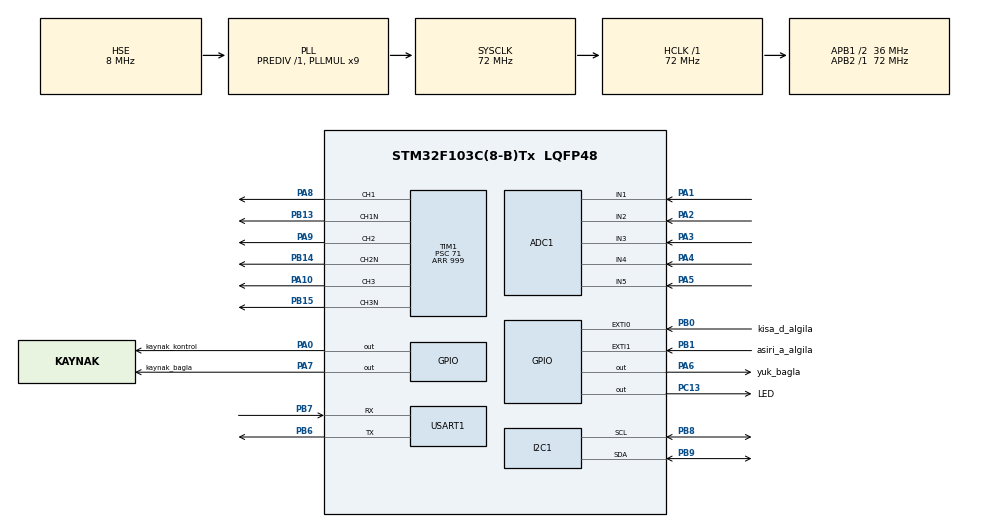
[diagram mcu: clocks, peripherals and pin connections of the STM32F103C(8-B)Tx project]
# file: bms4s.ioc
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ADC1.Channel-0\#ChannelRegularConversion=ADC_CHANNEL_1
ADC1.Channel-1\#ChannelRegularConversion=ADC_CHANNEL_2
ADC1.Channel-2\#ChannelRegularConversion=ADC_CHANNEL_3
ADC1.Channel-3\#ChannelRegularConversion=ADC_CHANNEL_4
ADC1.Channel-4\#ChannelRegularConversion=ADC_CHANNEL_5
ADC1.Channel-5\#ChannelRegularConversion=ADC_CHANNEL_TEMPSENSOR
ADC1.Channel-6\#ChannelRegularConversion=ADC_CHANNEL_VREFINT
ADC1.ExternalTrigConv=ADC_EXTERNALTRIGCONV_T3_TRGO
ADC1.NbrOfConversion=7
ADC1.NbrOfConversionFlag=1
ADC1.Rank-0\#ChannelRegularConversion=1
ADC1.Rank-1\#ChannelRegularConversion=2
ADC1.Rank-2\#ChannelRegularConversion=3
ADC1.Rank-3\#ChannelRegularConversion=4
ADC1.Rank-4\#ChannelRegularConversion=5
ADC1.Rank-5\#ChannelRegularConversion=6
ADC1.Rank-6\#ChannelRegularConversion=7
ADC1.SamplingTime-0\#ChannelRegularConversion=ADC_SAMPLETIME_239CYCLES_5
ADC1.SamplingTime-1\#ChannelRegularConversion=ADC_SAMPLETIME_239CYCLES_5
ADC1.SamplingTime-2\#ChannelRegularConversion=ADC_SAMPLETIME_239CYCLES_5
ADC1.SamplingTime-3\#ChannelRegularConversion=ADC_SAMPLETIME_239CYCLES_5
ADC1.SamplingTime-4\#ChannelRegularConversion=ADC_SAMPLETIME_239CYCLES_5
ADC1.SamplingTime-5\#ChannelRegularConversion=ADC_SAMPLETIME_239CYCLES_5
ADC1.SamplingTime-6\#ChannelRegularConversion=ADC_SAMPLETIME_239CYCLES_5
ADC1.master=1
Dma.ADC1.0.Direction=DMA_PERIPH_TO_MEMORY
Dma.ADC1.0.Instance=DMA1_Channel1
Dma.ADC1.0.MemDataAlignment=DMA_MDATAALIGN_WORD
Dma.ADC1.0.MemInc=DMA_MINC_ENABLE
Dma.ADC1.0.Mode=DMA_NORMAL
Dma.ADC1.0.PeriphDataAlignment=DMA_PDATAALIGN_WORD
Dma.ADC1.0.PeriphInc=DMA_PINC_DISABLE
Dma.ADC1.0.Priority=DMA_PRIORITY_LOW
Dma.Request0=ADC1
FREERTOS.Tasks01=KontrolTask,0,128,StartKontrolTask,Default,NULL,Dynamic,NULL,NULL;AdcTask,-3,128,StartAdcTask,Default,NULL,Dynamic,NULL,NULL;BalansTask,-3,128,StartBalansTask,Default,NULL,Dynamic,NULL,NULL
FREERTOS.configUSE_NEWLIB_REENTRANT=1
I2C1.I2C_Mode=I2C_Fast
Mcu.Family=STM32F1
Mcu.Name=STM32F103C(8-B)Tx
Mcu.Package=LQFP48
NVIC.DMA1_Channel1_IRQn=true\:5\:0\:false\:false\:true\:true\:false\:true\:true
NVIC.EXTI0_IRQn=true\:5\:0\:false\:false\:true\:true\:true\:true\:true
NVIC.EXTI1_IRQn=true\:5\:0\:false\:false\:true\:true\:true\:true\:true
NVIC.PriorityGroup=NVIC_PRIORITYGROUP_4
NVIC.TIM2_IRQn=true\:15\:0\:false\:false\:true\:false\:false\:true\:true
NVIC.TimeBase=TIM2_IRQn
NVIC.TimeBaseIP=TIM2
NVIC.USART1_IRQn=true\:5\:0\:false\:false\:true\:true\:true\:true\:true
PA0-WKUP.GPIO_Label=kaynak_kontrol
PA0-WKUP.Signal=GPIO_Output
PA1.Signal=ADCx_IN1
PA10.Signal=S_TIM1_CH3
PA13.Mode=Serial_Wire
PA13.Signal=SYS_JTMS-SWDIO
PA14.Mode=Serial_Wire
PA14.Signal=SYS_JTCK-SWCLK
PA2.Signal=ADCx_IN2
PA3.Signal=ADCx_IN3
PA4.Signal=ADCx_IN4
PA5.Signal=ADCx_IN5
PA6.GPIO_Label=yuk_bagla
PA6.Signal=GPIO_Output
PA7.GPIO_Label=kaynak_bagla
PA7.Signal=GPIO_Output
PA8.Signal=S_TIM1_CH1
PA9.Signal=S_TIM1_CH2
PB0.GPIO_Label=kisa_d_algila
PB0.Signal=GPXTI0
PB1.GPIO_Label=asiri_a_algila
PB1.Signal=GPXTI1
PB13.Mode=PWM Generation1 CH1 CH1N
PB13.Signal=TIM1_CH1N
PB14.Mode=PWM Generation2 CH2 CH2N
PB14.Signal=TIM1_CH2N
PB15.Mode=PWM Generation3 CH3 CH3N
PB15.Signal=TIM1_CH3N
PB6.Mode=Asynchronous
PB6.Signal=USART1_TX
PB7.Mode=Asynchronous
PB7.Signal=USART1_RX
PB8.Mode=I2C
PB8.Signal=I2C1_SCL
PB9.Mode=I2C
PB9.Signal=I2C1_SDA
PC13-TAMPER-RTC.GPIO_Label=LED
PC13-TAMPER-RTC.Signal=GPIO_Output
PD0-OSC_IN.Mode=HSE-External-Oscillator
PD0-OSC_IN.Signal=RCC_OSC_IN
PD1-OSC_OUT.Mode=HSE-External-Oscillator
PD1-OSC_OUT.Signal=RCC_OSC_OUT
ProjectManager.HeapSize=0x200
ProjectManager.StackSize=0x400
ProjectManager.TargetToolchain=STM32CubeIDE
RCC.ADCPresc=RCC_ADCPCLK2_DIV6
RCC.AHBFreq_Value=72000000
RCC.APB1CLKDivider=RCC_HCLK_DIV2
RCC.APB1Freq_Value=36000000
RCC.APB1TimFreq_Value=72000000
RCC.APB2Freq_Value=72000000
RCC.APB2TimFreq_Value=72000000
RCC.HCLKFreq_Value=72000000
RCC.PLLMUL=RCC_PLL_MUL9
RCC.PLLSourceVirtual=RCC_PLLSOURCE_HSE
RCC.SYSCLKFreq_VALUE=72000000
RCC.SYSCLKSource=RCC_SYSCLKSOURCE_PLLCLK
RCC.USBFreq_Value=72000000
SH.ADCx_IN1.0=ADC1_IN1,IN1
SH.ADCx_IN2.0=ADC1_IN2,IN2
SH.ADCx_IN3.0=ADC1_IN3,IN3
SH.ADCx_IN4.0=ADC1_IN4,IN4
SH.ADCx_IN5.0=ADC1_IN5,IN5
SH.S_TIM1_CH1.0=TIM1_CH1,PWM Generation1 CH1 CH1N
SH.S_TIM1_CH2.0=TIM1_CH2,PWM Generation2 CH2 CH2N
SH.S_TIM1_CH3.0=TIM1_CH3,PWM Generation3 CH3 CH3N
TIM1.Channel-PWM\ Generation1\ CH1\ CH1N=TIM_CHANNEL_1
TIM1.Channel-PWM\ Generation2\ CH2\ CH2N=TIM_CHANNEL_2
TIM1.Channel-PWM\ Generation3\ CH3\ CH3N=TIM_CHANNEL_3
TIM1.Period=999
TIM1.Prescaler=71
TIM1.Pulse-PWM\ Generation1\ CH1\ CH1N=499
TIM1.Pulse-PWM\ Generation2\ CH2\ CH2N=499
TIM1.Pulse-PWM\ Generation3\ CH3\ CH3N=499
TIM3.Period=999
TIM3.Prescaler=71
TIM3.TIM_MasterOutputTrigger=TIM_TRGO_UPDATE
TIM3.TIM_MasterSlaveMode=TIM_MASTERSLAVEMODE_DISABLE
USART1.VirtualMode=VM_ASYNC
VP_ADC1_TempSens_Input.Mode=IN-TempSens
VP_ADC1_Vref_Input.Mode=IN-Vrefint
VP_FREERTOS_VS_CMSIS_V1.Mode=CMSIS_V1
VP_SYS_VS_tim2.Mode=TIM2
VP_TIM1_VS_ClockSourceINT.Mode=Internal
VP_TIM3_VS_ClockSourceINT.Mode=Internal
board=custom

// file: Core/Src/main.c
/* USER CODE BEGIN Header */
/**
 ******************************************************************************
 * @file           : main.c
 * @brief          : Main program body
 ******************************************************************************
 * @attention
 *
 * Copyright (c) 2024 STMicroelectronics.
 * All rights reserved.
 *
 * This software is licensed under terms that can be found in the LICENSE file
 * in the root directory of this software component.
 * If no LICENSE file comes with this software, it is provided AS-IS.
 *
 ******************************************************************************
 */
/* USER CODE END Header */
#include "main.h"
#include "cmsis_os.h"

/* USER CODE BEGIN Includes */
#include "gnd16x2_i2c.h"
#include "gnd_uart.h"
#include <stdio.h>
#include <stdlib.h>
#include <stdbool.h>
#include <string.h>
#include <ctype.h>
#include <math.h>
#define ADC_BUFFER_SIZE 7
#define voltajFark 10
#define azamiVoltaj 1100 //çarpi 4 = pilin gerilimi
#define asgariVoltaj 850 // 3.2 pil gerilimi
#define asgariGerekliVolt 900
#define MAX_PWM_DUTY_CYCLE 70

//uint16_t adcDmaDeger[7], adcHamDeger[7];
char giden_data[40] = { 0 }, gelen_data[20] = { 0 };
int counter = 0;
/* USER CODE END Includes */

ADC_HandleTypeDef hadc1;
DMA_HandleTypeDef hdma_adc1;

I2C_HandleTypeDef hi2c1;

TIM_HandleTypeDef htim1;
TIM_HandleTypeDef htim3;

UART_HandleTypeDef huart1;

osThreadId KontrolTaskHandle;
osThreadId AdcTaskHandle;
osThreadId BalansTaskHandle;
/* USER CODE BEGIN PV */
uint32_t adc_buffer[ADC_BUFFER_SIZE];
bool adc_ready = false;
int pil[4] = { 0 };
int akim = 0;

int temperature;
const uint16_t V25 = 1790; // when V25=1.41V at ref 3.3V 1750
const uint16_t Avg_Slope = 5; //when avg_slope=4.3mV/C at ref 3.3V

volatile bool asiri_akim = false;
volatile bool kisa_devre = false;

uint32_t counterPeriod = 0;
uint32_t prescalerDeger = 0;
uint32_t frekans = 0;
uint8_t duty = 0;
uint8_t hesaplananPwm[3];

bool volatile azamiDurum = true;
bool volatile asgariDurum = true;
bool volatile balansDurum = false;

volatile int16_t voltFark[3] = { 0 };
volatile uint16_t max = 0;
uint16_t min = 0;
int maxIndex = 0;
int minIndex = 0;
uint32_t ortalama = 0;
/* USER CODE END PV */

void SystemClock_Config(void);
static void MX_GPIO_Init(void);
static void MX_DMA_Init(void);
static void MX_ADC1_Init(void);
static void MX_I2C1_Init(void);
static void MX_TIM1_Init(void);
static void MX_USART1_UART_Init(void);
static void MX_TIM3_Init(void);
void StartKontrolTask(void const *argument);
void StartAdcTask(void const *argument);
void StartBalansTask(void const *argument);

/* USER CODE BEGIN PFP */

uint32_t vref(void) {
	float Vref = 0.0;
	uint32_t dgr = 0;
	Vref = (1.20 / adc_buffer[6]) * 4095.0;
	dgr = Vref * 1000;
	return dgr;
}

int tempMCU(void) {
	temperature =
			(uint16_t) ((V25 - (uint16_t) adc_buffer[5]) / Avg_Slope + 25);
	return temperature;
}
uint32_t analogtan_veriye(uint32_t kanal, uint32_t Vrefint) {
	return (Vrefint * kanal) / 4095.0;
}

void pilleri_olc(void) {
	for (uint8_t i = 0; i < 4; ++i) {
		pil[i] = (uint16_t) analogtan_veriye(adc_buffer[i], vref());
	}
}
void lcdGoster(void) {
	if (adc_ready != true) {

	}
	adc_ready = false;

	pilleri_olc();
	sprintf(giden_data, "%d%d%d%d", pil[0], pil[1], pil[2], pil[3]);
	LCD16X2_SetCursor(0, 0);
	LCD16X2_PrintStr(giden_data);

	sprintf(giden_data, "temp:%d, %ld", tempMCU(), vref());
	LCD16X2_SetCursor(0, 1);
	LCD16X2_PrintStr(giden_data);

	HAL_ADC_Start_DMA(&hadc1, adc_buffer, ADC_BUFFER_SIZE);
}

void prescalerVeCounterBul(uint32_t sayi) {
	int8_t basamak = 0, bolum = 0, sifirSayisi = -1;
	uint32_t sayi1 = sayi;
	while (sayi1 > 0) {
		sayi1 = sayi1 / 10;
		basamak++;
	}

	/*sprintf(giden_data, "basamak Sayisi:%d\n", basamak);
	 Uart_sendstring(giden_data);*/

	uint32_t sayi2 = sayi;
	while (bolum == 0) {
		bolum = sayi2 % 10;
		sayi2 = sayi2 / 10;
		sifirSayisi++;

	}
	/*sprintf(giden_data, "Sifir Sayisi:%d\n", sifirSayisi);
	 Uart_sendstring(giden_data);*/

	//int r =0;
	//r=pow(10,sifirSayisi);
	prescalerDeger = (sayi / pow(10, sifirSayisi)) - 1;
	counterPeriod = pow(10, sifirSayisi) - 1;

	/*sprintf(giden_data, "prc: %ld, cnt: %ld\n", prescalerDeger, counterPeriod);
	 Uart_sendstring(giden_data);*/

}

void setPWMFrequencyAndDutyCycle(TIM_HandleTypeDef *htim, uint8_t kanal,
		uint32_t frequency, uint8_t dutyCycle) {
	//uint32_t prescalerValue = 0;
	//prescalerValue = ((HAL_RCC_GetSysClockFreq() / (frequency * (htim->Init.Period+1)))-1);
	//prsc = prescalerValue;
	if (dutyCycle > 0) {
		prescalerVeCounterBul(72000000 / frequency);
		switch (kanal) {
		case 1:
			HAL_TIM_PWM_Stop(htim, TIM_CHANNEL_1);
			HAL_TIMEx_PWMN_Stop(htim, TIM_CHANNEL_1);
			break;
		case 2:
			HAL_TIM_PWM_Stop(htim, TIM_CHANNEL_2);
			HAL_TIMEx_PWMN_Stop(htim, TIM_CHANNEL_2);
			break;
		case 3:
			HAL_TIM_PWM_Stop(htim, TIM_CHANNEL_3);
			HAL_TIMEx_PWMN_Stop(htim, TIM_CHANNEL_3);
			break;

		}
		// Timer'ı durdur

		// Prescaler ve Period değerlerini güncelle
		htim->Instance->PSC = prescalerDeger;	//prescalerValue;
		htim->Instance->ARR = counterPeriod;//(HAL_RCC_GetSysClockFreq() / (prescalerValue + 1)) / frequency - 1;
		// Duty cycle'ı güncelle
		TIM_OC_InitTypeDef sConfigOC = { 0 };
		sConfigOC.OCMode = TIM_OCMODE_PWM1;
		sConfigOC.Pulse = (dutyCycle * (counterPeriod + 1)) / 100;
		sConfigOC.OCPolarity = TIM_OCPOLARITY_HIGH;
		sConfigOC.OCFastMode = TIM_OCFAST_DISABLE;

		// PWM kanal konfigürasyonunu güncelle
		if (HAL_TIM_PWM_ConfigChannel(&htim1, &sConfigOC, TIM_CHANNEL_1)
				!= HAL_OK) {
			Error_Handler();
		}
		if (HAL_TIM_PWM_ConfigChannel(&htim1, &sConfigOC, TIM_CHANNEL_2)
				!= HAL_OK) {
			Error_Handler();
		}
		if (HAL_TIM_PWM_ConfigChannel(&htim1, &sConfigOC, TIM_CHANNEL_3)
				!= HAL_OK) {
			Error_Handler();
		}

		// Timer'ı tekrar başlat

		switch (kanal) {
		case 1:
			HAL_TIM_PWM_Start(htim, TIM_CHANNEL_1);
			HAL_TIMEx_PWMN_Start(htim, TIM_CHANNEL_1);
			break;
		case 2:
			HAL_TIM_PWM_Start(htim, TIM_CHANNEL_2);
			HAL_TIMEx_PWMN_Start(htim, TIM_CHANNEL_2);
			break;
		case 3:
			HAL_TIM_PWM_Start(htim, TIM_CHANNEL_3);
			HAL_TIMEx_PWMN_Start(htim, TIM_CHANNEL_3);
			break;

		}

		frekans = (72000000 / (prescalerDeger + 1) * (counterPeriod + 1))
				/ 10000;
		duty = (dutyCycle * (counterPeriod + 1)) / 100;
	}

}

void hesaplaAdcDegerleri(int adcDegerleri[], int boyut) {
	max = adcDegerleri[0];
	min = adcDegerleri[0];
	maxIndex = 0;
	minIndex = 0;
	uint32_t toplam = 0;

	for (int i = 0; i < boyut; i++) {
		if (adcDegerleri[i] > max) {
			max = adcDegerleri[i];
			maxIndex = i;
		}
		if (adcDegerleri[i] < min) {
			min = adcDegerleri[i];
			minIndex = i;
		}
		toplam += adcDegerleri[i];
	}

	ortalama = toplam / boyut;

	/*
	 printf("Maksimum ADC degeri: %d, Indeksi: %d\n", max, maxIndex);
	 printf("Minimum ADC degeri: %d, Indeksi: %d\n", min, minIndex);
	 printf("Ortalama ADC degeri: %d\n", ortalama);*/
}

uint8_t map(uint16_t x, uint16_t in_min, uint16_t in_max, uint16_t out_min,
		uint16_t out_max) {
	return (x - in_min) * (out_max - out_min) / (in_max - in_min) + out_min;
}

void pwmSecimi(void) {
	for (uint8_t i = 0; i < 3; ++i) {
		voltFark[i] = (voltFark[i] / 10) * 10;
	}

	max = 0;
	*voltFark = 0;

	for (uint8_t i = 0; i < 3; i++) {
		if (pil[i] > pil[i + 1]) {
			voltFark[i] = pil[i] - pil[i + 1];
		} else {
			voltFark[i] = 0;
		}

		if (voltFark[i] > max) {
			max = voltFark[i];

		}
		voltFark[i] = (voltFark[i] / 10) * 10;
		/*printf("%d.volt= %d\n",i,voltFark[i]);
		 printf("%d.fark= %d\n",i,voltFark[i]);
		 printf("max= %d\n",maxV);*/

	}

	max = (max / 10) * 10;

	for (uint8_t i = 0; i < 3; i++) {
		if (voltFark[i] > voltajFark) {
			hesaplananPwm[i] = map(voltFark[i], 0, max, 0, MAX_PWM_DUTY_CYCLE);
		} else {
			hesaplananPwm[i] = 0;
		}

	}
	/*for (uint8_t i = 0; i < 3; i++) {
	 sprintf(giden_data, "%d-%d.Farki = %d,Pwm:%d\n", i, i + 1, voltFark[i],
	 hesaplananPwm[i]);
	 Uart_sendstring(giden_data);

	 }*/
}
void limitKontrol(void) {
	if ((pil[0] > azamiVoltaj) && (pil[1] > azamiVoltaj)
			&& (pil[2] > azamiVoltaj) && (pil[3] > azamiVoltaj)) {
		azamiDurum = false;
		HAL_GPIO_WritePin(kaynak_bagla_GPIO_Port, kaynak_bagla_Pin, RESET);
		HAL_GPIO_WritePin(yuk_bagla_GPIO_Port, yuk_bagla_Pin, RESET);
	}

	if ((pil[0] < asgariVoltaj) && (pil[1] < asgariVoltaj)
			&& (pil[2] < asgariVoltaj) && (pil[3] < asgariVoltaj)) {
		asgariDurum = false;
		HAL_GPIO_WritePin(kaynak_bagla_GPIO_Port, kaynak_bagla_Pin, RESET);
		HAL_GPIO_WritePin(yuk_bagla_GPIO_Port, yuk_bagla_Pin, RESET);
	}

}

void balansTest(void) {
	/*for(uint i=0;i>4;i++){
	 if((abs(adcHamDeger[i]-adcHamDeger[i+1]))>voltajFark){
	 setPWMFrequencyAndDutyCycle(&htim1, 1, 100000, 10);
	 }
	 }*/
	//pwmSecimi();
	if (azamiDurum && asgariDurum && balansDurum) {	//balansDurum){//
		if (hesaplananPwm[0] != 0 || hesaplananPwm[1] != 0
				|| hesaplananPwm[2] != 0) {
			static uint8_t sayac = 0;

			sayac++;
			if (sayac > 2)
				sayac = 0;

//		if ((sayac == 0) && (hesaplananPwm[0]>0)) {
//		 HAL_TIM_PWM_Stop(&htim1, TIM_CHANNEL_2|TIM_CHANNEL_3);
//		 HAL_TIMEx_PWMN_Stop(&htim1, TIM_CHANNEL_2|TIM_CHANNEL_3);
//		 /*HAL_TIM_PWM_Stop(&htim1, TIM_CHANNEL_3);
//		 HAL_TIMEx_PWMN_Stop(&htim1, TIM_CHANNEL_3);*/
//		 } else if ((sayac == 1) && (hesaplananPwm[1]>0)) {
//		 HAL_TIM_PWM_Stop(&htim1, TIM_CHANNEL_1|TIM_CHANNEL_3);
//		 HAL_TIMEx_PWMN_Stop(&htim1, TIM_CHANNEL_1|TIM_CHANNEL_3);
//		 /*HAL_TIM_PWM_Stop(&htim1, TIM_CHANNEL_3);
//		 HAL_TIMEx_PWMN_Stop(&htim1, TIM_CHANNEL_3);*/
//
//		 } else if ((sayac == 2) && (hesaplananPwm[2]>0)) {
//		 HAL_TIM_PWM_Stop(&htim1, TIM_CHANNEL_1|TIM_CHANNEL_2);
//		 HAL_TIMEx_PWMN_Stop(&htim1, TIM_CHANNEL_1|TIM_CHANNEL_2);
//		 /*HAL_TIM_PWM_Stop(&htim1, TIM_CHANNEL_2);
//		 HAL_TIMEx_PWMN_Stop(&htim1, TIM_CHANNEL_2);*/
//		 }

			switch (sayac) {
			case 0:

				if (hesaplananPwm[2] > 0) {
					HAL_TIM_PWM_Stop(&htim1, TIM_CHANNEL_3);
					HAL_TIMEx_PWMN_Stop(&htim1, TIM_CHANNEL_3);
				}
				if (hesaplananPwm[1] > 0) {
					HAL_TIM_PWM_Stop(&htim1, TIM_CHANNEL_1);
					HAL_TIMEx_PWMN_Stop(&htim1, TIM_CHANNEL_1);
				}
				if (hesaplananPwm[0] > 0) {

					setPWMFrequencyAndDutyCycle(&htim1, 1, 100000,
							hesaplananPwm[0]);
				}
				break;
				/*case 1:
				 if(hesaplananPwm[0]>0){
				 HAL_TIM_PWM_Stop(&htim1, TIM_CHANNEL_1);
				 HAL_TIMEx_PWMN_Stop(&htim1, TIM_CHANNEL_1);
				 }

				 break;*/
			case 1:

				if (hesaplananPwm[0] > 0) {
					HAL_TIM_PWM_Stop(&htim1, TIM_CHANNEL_1);
					HAL_TIMEx_PWMN_Stop(&htim1, TIM_CHANNEL_1);
				}
				if (hesaplananPwm[2] > 0) {
					HAL_TIM_PWM_Stop(&htim1, TIM_CHANNEL_2);
					HAL_TIMEx_PWMN_Stop(&htim1, TIM_CHANNEL_2);
				}
				if (hesaplananPwm[1] > 0) {
					setPWMFrequencyAndDutyCycle(&htim1, 2, 100000,
							hesaplananPwm[1]);
				}
				break;
				/*case 3:
				 if(hesaplananPwm[1]>0){
				 HAL_TIM_PWM_Stop(&htim1, TIM_CHANNEL_2);
				 HAL_TIMEx_PWMN_Stop(&htim1, TIM_CHANNEL_2);
				 }
				 break;*/
			case 2:

				if (hesaplananPwm[1] > 0) {
					HAL_TIM_PWM_Stop(&htim1, TIM_CHANNEL_2);
					HAL_TIMEx_PWMN_Stop(&htim1, TIM_CHANNEL_2);
				}
				if (hesaplananPwm[0] > 0) {
					HAL_TIM_PWM_Stop(&htim1, TIM_CHANNEL_1);
					HAL_TIMEx_PWMN_Stop(&htim1, TIM_CHANNEL_1);
				}
				if (hesaplananPwm[2] > 0) {
					setPWMFrequencyAndDutyCycle(&htim1, 3, 100000,
							hesaplananPwm[2]);
				}
				break;
				/*case 5:
				 if(hesaplananPwm[2]>0){
				 HAL_TIM_PWM_Stop(&htim1, TIM_CHANNEL_3);
				 HAL_TIMEx_PWMN_Stop(&htim1, TIM_CHANNEL_3);
				 }
				 break;*/
			}

		}
	}

	/*if (adcHamDeger[4] > 100 * 30) {//azami akim
	 HAL_TIM_PWM_Stop(&htim1, TIM_CHANNEL_1);
	 HAL_TIMEx_PWMN_Stop(&htim1, TIM_CHANNEL_1);
	 HAL_TIM_PWM_Stop(&htim1, TIM_CHANNEL_2);
	 HAL_TIMEx_PWMN_Stop(&htim1, TIM_CHANNEL_2);
	 HAL_TIM_PWM_Stop(&htim1, TIM_CHANNEL_3);
	 HAL_TIMEx_PWMN_Stop(&htim1, TIM_CHANNEL_3);
	 }*/

	/*for(uint i=0;i>4;i++){
	 if(adcHamDeger[i]>azamiVoltaj){

	 }
	 }*/

}
void send_Lcd(void) {

	if (adc_ready != true) {

	}
	adc_ready = false;

	pilleri_olc();

	static uint8_t cnt = 0;
	cnt++;
	LCD16X2_Clear();

	if (cnt == 1) {
		sprintf(giden_data, "B1:%d", pil[3]);
		LCD16X2_SetCursor(0, 0);
		LCD16X2_PrintStr(giden_data);

		sprintf(giden_data, "B2:%d", pil[2]);
		LCD16X2_SetCursor(0, 1);
		LCD16X2_PrintStr(giden_data);
	} else if (cnt == 2) {
		sprintf(giden_data, "B3:%d", pil[1]);
		LCD16X2_SetCursor(0, 0);
		LCD16X2_PrintStr(giden_data);

		sprintf(giden_data, "B4:%d", pil[0]);
		LCD16X2_SetCursor(0, 1);
		LCD16X2_PrintStr(giden_data);
	} else if (cnt == 3) {
		sprintf(giden_data, "CR:%ld -> %ld", adc_buffer[4],
				analogtan_veriye(adc_buffer[4], vref()) * 7);
		LCD16X2_SetCursor(0, 0);
		LCD16X2_PrintStr(giden_data);

		sprintf(giden_data, "KD:%d - AA:%d", kisa_devre, asiri_akim);
		LCD16X2_SetCursor(0, 1);
		LCD16X2_PrintStr(giden_data);

		/*sprintf(giden_data, "LM:%04ld -> %04d", adcHamDeger[5],
		 degerDonusum(adcHamDeger[5]));
		 LCD16X2_SetCursor(0, 1);
		 LCD16X2_PrintStr(giden_data);*/
	} else if (cnt == 4) {
		sprintf(giden_data, "Frq:%ld00", frekans);
		LCD16X2_SetCursor(0, 0);
		LCD16X2_PrintStr(giden_data);

		sprintf(giden_data, "Dty:%d0", duty);
		LCD16X2_SetCursor(0, 1);
		LCD16X2_PrintStr(giden_data);
	} else if (cnt == 5) {
		sprintf(giden_data, "Mx:%d - Indx:%d", pil[maxIndex], (4 - maxIndex));
		LCD16X2_SetCursor(0, 0);
		LCD16X2_PrintStr(giden_data);

		sprintf(giden_data, "Mn:%d - Indx:%d", pil[minIndex], (4 - minIndex));
		LCD16X2_SetCursor(0, 1);
		LCD16X2_PrintStr(giden_data);
	}

	else {
		/*float Vref = 0.0;
		 int dgr = 0;
		 Vref = (1.20 / adcHamDeger[6]) * 4095.0;
		 dgr = Vref * 1000;*/

		sprintf(giden_data, "Vr:%ld -> %ld", adc_buffer[6], vref());
		LCD16X2_SetCursor(0, 0);
		LCD16X2_PrintStr(giden_data);

		sprintf(giden_data, "TP:%ld -> %d%cC", adc_buffer[5], tempMCU(), 0xDF);
		LCD16X2_SetCursor(0, 1);
		LCD16X2_PrintStr(giden_data);

		/*sprintf(giden_data,"Vref:%04d",dgr);
		 LCD16X2_SetCursor(0,1);
		 LCD16X2_PrintStr(giden_data);*/
		cnt = 0;
	}
	/*static uint8_t cnt = 0;
	 cnt++;
	 LCD16X2_Clear();
	 sprintf(giden_data, "Sayar: %d", cnt);
	 LCD16X2_SetCursor(0, 0);
	 LCD16X2_PrintStr(giden_data);

	 sprintf(giden_data, "sayar:%d", cnt);
	 LCD16X2_SetCursor(6, 1);
	 LCD16X2_PrintStr(giden_data);*/

	HAL_ADC_Start_DMA(&hadc1, adc_buffer, ADC_BUFFER_SIZE);
}

void send_Serial(void) {

	sprintf(giden_data, "V_Bat_4 = %d\n", pil[0]);
	Uart_sendstring(giden_data);

	sprintf(giden_data, "V_Bat_3 = %d\n", pil[1]);
	Uart_sendstring(giden_data);

	sprintf(giden_data, "V_Bat_2 = %d\n", pil[2]);
	Uart_sendstring(giden_data);

	sprintf(giden_data, "V_Bat_1 = %d\n", pil[3]);
	Uart_sendstring(giden_data);

	sprintf(giden_data, "A_Pack = %ld -> %ld\n", adc_buffer[4],
			analogtan_veriye(adc_buffer[4], vref()) * 7);
	Uart_sendstring(giden_data);

	sprintf(giden_data, "KisaDevre:%d\nAsiriAkim:%d\n", kisa_devre, asiri_akim);
	Uart_sendstring(giden_data);

	sprintf(giden_data, "Temp = %d*C\n", tempMCU());
	Uart_sendstring(giden_data);
	//(azamiDurum && asgariDurum && balansDurum)

	sprintf(giden_data, "Vref = %ld\n______\n", vref());
	Uart_sendstring(giden_data);
	//pwmSecimi();

	//if (balansDurum) {
	for (uint8_t i = 0; i < 3; i++) {
		sprintf(giden_data, "%d-%d.Farki = %d,Pwm:%d\n", i, i + 1, voltFark[i],
				hesaplananPwm[i]);
		Uart_sendstring(giden_data);

	}
	sprintf(giden_data, "max: %d\n", max);
	Uart_sendstring(giden_data);

	sprintf(giden_data, "azami:%d\nasgari:%d\nbalans:%d\n", azamiDurum,
			asgariDurum, balansDurum);
	Uart_sendstring(giden_data);

	sprintf(giden_data, "______\n");
	Uart_sendstring(giden_data);
	//}
	/*static uint8_t cnt = 0;
	 cnt++;

	 sprintf(giden_data, "Sayar:%d\n", cnt);
	 Uart_sendstring(giden_data);*/

	/*

	 sprintf(giden_data, "V_Bat_4 = %d -> %d\n", adcHamDeger[0],
	 degerDonusum(adcHamDeger[0]));
	 Uart_sendstring(giden_data);

	 sprintf(giden_data, "V_Bat_3 = %d -> %d\n", adcHamDeger[1],
	 degerDonusum(adcHamDeger[1]));
	 Uart_sendstring(giden_data);

	 sprintf(giden_data, "V_Bat_2 = %d -> %d\n", adcHamDeger[2],
	 degerDonusum(adcHamDeger[2]));
	 Uart_sendstring(giden_data);

	 sprintf(giden_data, "V_Bat_1 = %d -> %d\n", adcHamDeger[3],
	 degerDonusum(adcHamDeger[3]));
	 Uart_sendstring(giden_data);

	 sprintf(giden_data, "A_Pack = %d -> %d\n", adcHamDeger[4],
	 degerDonusum(adcHamDeger[4]));
	 Uart_sendstring(giden_data);

	 sprintf(giden_data, "KisaDevre:%d\nAsiriAkim:%d\n", kisa_devre,asiri_akim);
	 Uart_sendstring(giden_data);*/

	/*sprintf(giden_data, "V_Pack = %04ld -> %04d\n", adcHamDeger[5],
	 degerDonusum(adcHamDeger[5]));
	 Uart_sendstring(giden_data);*/

	/*sprintf(giden_data, "VCC = %04ld -> %04d\n", adcHamDeger[6],degerDonusum(adcHamDeger[6]));
	 Uart_sendstring(giden_data);
	 */
	/*sprintf(giden_data, "Temp = %d -> %d*C\n", adcHamDeger[5],
	 tempMCU());
	 Uart_sendstring(giden_data);

	 sprintf(giden_data, "Vref = %d -> %d\n", adcHamDeger[6], vref());
	 Uart_sendstring(giden_data);

	 sprintf(giden_data, "Maksimum: %d, Indeksi: %d\n", max, (4-maxIndex));
	 Uart_sendstring(giden_data);

	 sprintf(giden_data, "Minimum: %d, Indeksi: %d\n", min, (4-minIndex));
	 Uart_sendstring(giden_data);

	 sprintf(giden_data, "Ortalama: %04ld\n______\n", ortalama);
	 HAL_ADC_Start_DMA(&hadc1, adc_buffer, ADC_BUFFER_SIZE);
	 Uart_sendstring(giden_data);*/
}

void PwmVeOnOffKontrol(void) {

	if (Uart_peek() == '1')
		HAL_GPIO_TogglePin(kaynak_kontrol_GPIO_Port, kaynak_kontrol_Pin);//HAL_GPIO_WritePin(GPIOA, GPIO_PIN_0, GPIO_PIN_SET);//Enable
	//if (Uart_peek () == '2') HAL_GPIO_WritePin(GPIOA, GPIO_PIN_0, GPIO_PIN_RESET);

	if (Uart_peek() == '2')
		HAL_GPIO_TogglePin(yuk_bagla_GPIO_Port, yuk_bagla_Pin);	//HAL_GPIO_WritePin(GPIOA, GPIO_PIN_6, GPIO_PIN_SET);//DisCharge
	//if (Uart_peek () == '4') HAL_GPIO_WritePin(GPIOA, GPIO_PIN_6, GPIO_PIN_RESET);

	if (Uart_peek() == '3')
		HAL_GPIO_TogglePin(kaynak_bagla_GPIO_Port, kaynak_bagla_Pin);//HAL_GPIO_WritePin(GPIOA, GPIO_PIN_7, GPIO_PIN_SET);//Charge
	//if (Uart_peek () == '6') HAL_GPIO_WritePin(GPIOA, GPIO_PIN_7, GPIO_PIN_RESET);

	if (Uart_peek() == '4') {
		static int t1 = 0;
		t1++;
		if (t1 == 1) {
			setPWMFrequencyAndDutyCycle(&htim1, 1, 100000, 30);
		} else {
			HAL_TIM_PWM_Stop(&htim1, TIM_CHANNEL_1);
			HAL_TIMEx_PWMN_Stop(&htim1, TIM_CHANNEL_1);
			t1 = 0;
		}
	}

	if (Uart_peek() == '5') {
		static int t2 = 0;
		t2++;
		if (t2 == 1) {
			setPWMFrequencyAndDutyCycle(&htim1, 2, 100000, 40);
		} else {
			HAL_TIM_PWM_Stop(&htim1, TIM_CHANNEL_2);
			HAL_TIMEx_PWMN_Stop(&htim1, TIM_CHANNEL_2);
			t2 = 0;
		}
	}

	if (Uart_peek() == '6') {
		static int t3 = 0;
		t3++;
		if (t3 == 1) {
			setPWMFrequencyAndDutyCycle(&htim1, 3, 100000, 50);
		} else {
			HAL_TIM_PWM_Stop(&htim1, TIM_CHANNEL_3);
			HAL_TIMEx_PWMN_Stop(&htim1, TIM_CHANNEL_3);
			t3 = 0;
		}
	}
	if (Uart_peek() == '7')
		balansDurum = !balansDurum;
	if (Uart_peek() == '8')
		asgariDurum = !asgariDurum;
	if (Uart_peek() == '9')
		azamiDurum = !azamiDurum;

	Uart_flush();
}
/* USER CODE END PFP */

/* USER CODE BEGIN 0 */
/*int _write(int file, char *ptr, int len){
 HAL_UART_Transmit(&huart1, (uint8_t*)ptr, len, HAL_MAX_DELAY);
 return len;
 }*/
/* USER CODE END 0 */

int main(void) {

	/* MCU Configuration--------------------------------------------------------*/

	/* Reset of all peripherals, Initializes the Flash interface and the Systick. */
	HAL_Init();

	/* Configure the system clock */
	SystemClock_Config();

	/* Initialize all configured peripherals */
	MX_GPIO_Init();
	MX_DMA_Init();
	MX_ADC1_Init();
	MX_I2C1_Init();
	MX_TIM1_Init();
	MX_USART1_UART_Init();
	MX_TIM3_Init();
	/* USER CODE BEGIN 2 */
	LCD16X2_Init(2);
	Ringbuf_init();
	HAL_ADCEx_Calibration_Start(&hadc1);
	HAL_ADC_Start_DMA(&hadc1, adc_buffer, ADC_BUFFER_SIZE);
	HAL_TIM_Base_Start(&htim3);
	/* USER CODE END 2 */

	/* Create the thread(s) */
	/* definition and creation of KontrolTask */
	osThreadDef(KontrolTask, StartKontrolTask, osPriorityNormal, 0, 128);
	KontrolTaskHandle = osThreadCreate(osThread(KontrolTask), NULL);

	/* definition and creation of AdcTask */
	osThreadDef(AdcTask, StartAdcTask, osPriorityIdle, 0, 128);
	AdcTaskHandle = osThreadCreate(osThread(AdcTask), NULL);

	/* definition and creation of BalansTask */
	osThreadDef(BalansTask, StartBalansTask, osPriorityIdle, 0, 128);
	BalansTaskHandle = osThreadCreate(osThread(BalansTask), NULL);

	/* Start scheduler */
	osKernelStart();

	/* We should never get here as control is now taken by the scheduler */

	/* Infinite loop */
	while (1) {

	}
}

void SystemClock_Config(void) {
	RCC_OscInitTypeDef RCC_OscInitStruct = { 0 };
	RCC_ClkInitTypeDef RCC_ClkInitStruct = { 0 };
	RCC_PeriphCLKInitTypeDef PeriphClkInit = { 0 };

	/** Initializes the RCC Oscillators according to the specified parameters
	 * in the RCC_OscInitTypeDef structure.
	 */
	RCC_OscInitStruct.OscillatorType = RCC_OSCILLATORTYPE_HSE;
	RCC_OscInitStruct.HSEState = RCC_HSE_ON;
	RCC_OscInitStruct.HSEPredivValue = RCC_HSE_PREDIV_DIV1;
	RCC_OscInitStruct.HSIState = RCC_HSI_ON;
	RCC_OscInitStruct.PLL.PLLState = RCC_PLL_ON;
	RCC_OscInitStruct.PLL.PLLSource = RCC_PLLSOURCE_HSE;
	RCC_OscInitStruct.PLL.PLLMUL = RCC_PLL_MUL9;
	if (HAL_RCC_OscConfig(&RCC_OscInitStruct) != HAL_OK) {
		Error_Handler();
	}

	/** Initializes the CPU, AHB and APB buses clocks
	 */
	RCC_ClkInitStruct.ClockType = RCC_CLOCKTYPE_HCLK | RCC_CLOCKTYPE_SYSCLK
			| RCC_CLOCKTYPE_PCLK1 | RCC_CLOCKTYPE_PCLK2;
	RCC_ClkInitStruct.SYSCLKSource = RCC_SYSCLKSOURCE_PLLCLK;
	RCC_ClkInitStruct.AHBCLKDivider = RCC_SYSCLK_DIV1;
	RCC_ClkInitStruct.APB1CLKDivider = RCC_HCLK_DIV2;
	RCC_ClkInitStruct.APB2CLKDivider = RCC_HCLK_DIV1;

	if (HAL_RCC_ClockConfig(&RCC_ClkInitStruct, FLASH_LATENCY_2) != HAL_OK) {
		Error_Handler();
	}
	PeriphClkInit.PeriphClockSelection = RCC_PERIPHCLK_ADC;
	PeriphClkInit.AdcClockSelection = RCC_ADCPCLK2_DIV6;
	if (HAL_RCCEx_PeriphCLKConfig(&PeriphClkInit) != HAL_OK) {
		Error_Handler();
	}
}

static void MX_ADC1_Init(void) {

	ADC_ChannelConfTypeDef sConfig = { 0 };

	/** Common config
	 */
	hadc1.Instance = ADC1;
	hadc1.Init.ScanConvMode = ADC_SCAN_ENABLE;
	hadc1.Init.ContinuousConvMode = DISABLE;
	hadc1.Init.DiscontinuousConvMode = DISABLE;
	hadc1.Init.ExternalTrigConv = ADC_EXTERNALTRIGCONV_T3_TRGO;
	hadc1.Init.DataAlign = ADC_DATAALIGN_RIGHT;
	hadc1.Init.NbrOfConversion = 7;
	if (HAL_ADC_Init(&hadc1) != HAL_OK) {
		Error_Handler();
	}

	/** Configure Regular Channel
	 */
	sConfig.Channel = ADC_CHANNEL_1;
	sConfig.Rank = ADC_REGULAR_RANK_1;
	sConfig.SamplingTime = ADC_SAMPLETIME_239CYCLES_5;
	if (HAL_ADC_ConfigChannel(&hadc1, &sConfig) != HAL_OK) {
		Error_Handler();
	}

	/** Configure Regular Channel
	 */
	sConfig.Channel = ADC_CHANNEL_2;
	sConfig.Rank = ADC_REGULAR_RANK_2;
	if (HAL_ADC_ConfigChannel(&hadc1, &sConfig) != HAL_OK) {
		Error_Handler();
	}

	/** Configure Regular Channel
	 */
	sConfig.Channel = ADC_CHANNEL_3;
	sConfig.Rank = ADC_REGULAR_RANK_3;
	if (HAL_ADC_ConfigChannel(&hadc1, &sConfig) != HAL_OK) {
		Error_Handler();
	}

	/** Configure Regular Channel
	 */
	sConfig.Channel = ADC_CHANNEL_4;
	sConfig.Rank = ADC_REGULAR_RANK_4;
	if (HAL_ADC_ConfigChannel(&hadc1, &sConfig) != HAL_OK) {
		Error_Handler();
	}

	/** Configure Regular Channel
	 */
	sConfig.Channel = ADC_CHANNEL_5;
	sConfig.Rank = ADC_REGULAR_RANK_5;
	if (HAL_ADC_ConfigChannel(&hadc1, &sConfig) != HAL_OK) {
		Error_Handler();
	}

	/** Configure Regular Channel
	 */
	sConfig.Channel = ADC_CHANNEL_TEMPSENSOR;
	sConfig.Rank = ADC_REGULAR_RANK_6;
	if (HAL_ADC_ConfigChannel(&hadc1, &sConfig) != HAL_OK) {
		Error_Handler();
	}

	/** Configure Regular Channel
	 */
	sConfig.Channel = ADC_CHANNEL_VREFINT;
	sConfig.Rank = ADC_REGULAR_RANK_7;
	if (HAL_ADC_ConfigChannel(&hadc1, &sConfig) != HAL_OK) {
		Error_Handler();
	}

}

static void MX_I2C1_Init(void) {

	hi2c1.Instance = I2C1;
	hi2c1.Init.ClockSpeed = 400000;
	hi2c1.Init.DutyCycle = I2C_DUTYCYCLE_2;
	hi2c1.Init.OwnAddress1 = 0;
	hi2c1.Init.AddressingMode = I2C_ADDRESSINGMODE_7BIT;
	hi2c1.Init.DualAddressMode = I2C_DUALADDRESS_DISABLE;
	hi2c1.Init.OwnAddress2 = 0;
	hi2c1.Init.GeneralCallMode = I2C_GENERALCALL_DISABLE;
	hi2c1.Init.NoStretchMode = I2C_NOSTRETCH_DISABLE;
	if (HAL_I2C_Init(&hi2c1) != HAL_OK) {
		Error_Handler();
	}

}

static void MX_TIM1_Init(void) {

	TIM_ClockConfigTypeDef sClockSourceConfig = { 0 };
	TIM_MasterConfigTypeDef sMasterConfig = { 0 };
	TIM_OC_InitTypeDef sConfigOC = { 0 };
	TIM_BreakDeadTimeConfigTypeDef sBreakDeadTimeConfig = { 0 };

	htim1.Instance = TIM1;
	htim1.Init.Prescaler = 71;
	htim1.Init.CounterMode = TIM_COUNTERMODE_UP;
	htim1.Init.Period = 999;
	htim1.Init.ClockDivision = TIM_CLOCKDIVISION_DIV1;
	htim1.Init.RepetitionCounter = 0;
	htim1.Init.AutoReloadPreload = TIM_AUTORELOAD_PRELOAD_DISABLE;
	if (HAL_TIM_Base_Init(&htim1) != HAL_OK) {
		Error_Handler();
	}
	sClockSourceConfig.ClockSource = TIM_CLOCKSOURCE_INTERNAL;
	if (HAL_TIM_ConfigClockSource(&htim1, &sClockSourceConfig) != HAL_OK) {
		Error_Handler();
	}
	if (HAL_TIM_PWM_Init(&htim1) != HAL_OK) {
		Error_Handler();
	}
	sMasterConfig.MasterOutputTrigger = TIM_TRGO_RESET;
	sMasterConfig.MasterSlaveMode = TIM_MASTERSLAVEMODE_DISABLE;
	if (HAL_TIMEx_MasterConfigSynchronization(&htim1, &sMasterConfig)
			!= HAL_OK) {
		Error_Handler();
	}
	sConfigOC.OCMode = TIM_OCMODE_PWM1;
	sConfigOC.Pulse = 499;
	sConfigOC.OCPolarity = TIM_OCPOLARITY_HIGH;
	sConfigOC.OCNPolarity = TIM_OCNPOLARITY_HIGH;
	sConfigOC.OCFastMode = TIM_OCFAST_DISABLE;
	sConfigOC.OCIdleState = TIM_OCIDLESTATE_RESET;
	sConfigOC.OCNIdleState = TIM_OCNIDLESTATE_RESET;
	if (HAL_TIM_PWM_ConfigChannel(&htim1, &sConfigOC, TIM_CHANNEL_1)
			!= HAL_OK) {
		Error_Handler();
	}
	if (HAL_TIM_PWM_ConfigChannel(&htim1, &sConfigOC, TIM_CHANNEL_2)
			!= HAL_OK) {
		Error_Handler();
	}
	if (HAL_TIM_PWM_ConfigChannel(&htim1, &sConfigOC, TIM_CHANNEL_3)
			!= HAL_OK) {
		Error_Handler();
	}
	sBreakDeadTimeConfig.OffStateRunMode = TIM_OSSR_DISABLE;
	sBreakDeadTimeConfig.OffStateIDLEMode = TIM_OSSI_DISABLE;
	sBreakDeadTimeConfig.LockLevel = TIM_LOCKLEVEL_OFF;
	sBreakDeadTimeConfig.DeadTime = 0;
	sBreakDeadTimeConfig.BreakState = TIM_BREAK_DISABLE;
	sBreakDeadTimeConfig.BreakPolarity = TIM_BREAKPOLARITY_HIGH;
	sBreakDeadTimeConfig.AutomaticOutput = TIM_AUTOMATICOUTPUT_DISABLE;
	if (HAL_TIMEx_ConfigBreakDeadTime(&htim1, &sBreakDeadTimeConfig)
			!= HAL_OK) {
		Error_Handler();
	}
	HAL_TIM_MspPostInit(&htim1);

}

static void MX_TIM3_Init(void) {

	TIM_ClockConfigTypeDef sClockSourceConfig = { 0 };
	TIM_MasterConfigTypeDef sMasterConfig = { 0 };

	htim3.Instance = TIM3;
	htim3.Init.Prescaler = 71;
	htim3.Init.CounterMode = TIM_COUNTERMODE_UP;
	htim3.Init.Period = 999;
	htim3.Init.ClockDivision = TIM_CLOCKDIVISION_DIV1;
	htim3.Init.AutoReloadPreload = TIM_AUTORELOAD_PRELOAD_DISABLE;
	if (HAL_TIM_Base_Init(&htim3) != HAL_OK) {
		Error_Handler();
	}
	sClockSourceConfig.ClockSource = TIM_CLOCKSOURCE_INTERNAL;
	if (HAL_TIM_ConfigClockSource(&htim3, &sClockSourceConfig) != HAL_OK) {
		Error_Handler();
	}
	sMasterConfig.MasterOutputTrigger = TIM_TRGO_UPDATE;
	sMasterConfig.MasterSlaveMode = TIM_MASTERSLAVEMODE_DISABLE;
	if (HAL_TIMEx_MasterConfigSynchronization(&htim3, &sMasterConfig)
			!= HAL_OK) {
		Error_Handler();
	}

}

static void MX_USART1_UART_Init(void) {

	huart1.Instance = USART1;
	huart1.Init.BaudRate = 115200;
	huart1.Init.WordLength = UART_WORDLENGTH_8B;
	huart1.Init.StopBits = UART_STOPBITS_1;
	huart1.Init.Parity = UART_PARITY_NONE;
	huart1.Init.Mode = UART_MODE_TX_RX;
	huart1.Init.HwFlowCtl = UART_HWCONTROL_NONE;
	huart1.Init.OverSampling = UART_OVERSAMPLING_16;
	if (HAL_UART_Init(&huart1) != HAL_OK) {
		Error_Handler();
	}

}

static void MX_DMA_Init(void) {

	/* DMA controller clock enable */
	__HAL_RCC_DMA1_CLK_ENABLE();

	/* DMA interrupt init */
	/* DMA1_Channel1_IRQn interrupt configuration */
	HAL_NVIC_SetPriority(DMA1_Channel1_IRQn, 5, 0);
	HAL_NVIC_EnableIRQ(DMA1_Channel1_IRQn);

}

static void MX_GPIO_Init(void) {
	GPIO_InitTypeDef GPIO_InitStruct = { 0 };

	/* GPIO Ports Clock Enable */
	__HAL_RCC_GPIOC_CLK_ENABLE();
	__HAL_RCC_GPIOD_CLK_ENABLE();
	__HAL_RCC_GPIOA_CLK_ENABLE();
	__HAL_RCC_GPIOB_CLK_ENABLE();

	/*Configure GPIO pin Output Level */
	HAL_GPIO_WritePin(LED_GPIO_Port, LED_Pin, GPIO_PIN_RESET);

	/*Configure GPIO pin Output Level */
	HAL_GPIO_WritePin(GPIOA,
	kaynak_kontrol_Pin | yuk_bagla_Pin | kaynak_bagla_Pin, GPIO_PIN_RESET);

	/*Configure GPIO pin : LED_Pin */
	GPIO_InitStruct.Pin = LED_Pin;
	GPIO_InitStruct.Mode = GPIO_MODE_OUTPUT_PP;
	GPIO_InitStruct.Pull = GPIO_NOPULL;
	GPIO_InitStruct.Speed = GPIO_SPEED_FREQ_LOW;
	HAL_GPIO_Init(LED_GPIO_Port, &GPIO_InitStruct);

	/*Configure GPIO pins : kaynak_kontrol_Pin yuk_bagla_Pin kaynak_bagla_Pin */
	GPIO_InitStruct.Pin = kaynak_kontrol_Pin | yuk_bagla_Pin | kaynak_bagla_Pin;
	GPIO_InitStruct.Mode = GPIO_MODE_OUTPUT_PP;
	GPIO_InitStruct.Pull = GPIO_NOPULL;
	GPIO_InitStruct.Speed = GPIO_SPEED_FREQ_LOW;
	HAL_GPIO_Init(GPIOA, &GPIO_InitStruct);

	/*Configure GPIO pins : kisa_d_algila_Pin asiri_a_algila_Pin */
	GPIO_InitStruct.Pin = kisa_d_algila_Pin | asiri_a_algila_Pin;
	GPIO_InitStruct.Mode = GPIO_MODE_IT_RISING;
	GPIO_InitStruct.Pull = GPIO_NOPULL;
	HAL_GPIO_Init(GPIOB, &GPIO_InitStruct);

	/* EXTI interrupt init*/
	HAL_NVIC_SetPriority(EXTI0_IRQn, 5, 0);
	HAL_NVIC_EnableIRQ(EXTI0_IRQn);

	HAL_NVIC_SetPriority(EXTI1_IRQn, 5, 0);
	HAL_NVIC_EnableIRQ(EXTI1_IRQn);

}

/* USER CODE BEGIN 4 */
void HAL_ADC_ConvCpltCallback(ADC_HandleTypeDef *hadc) {
	UNUSED(hadc);
	adc_ready = true;
	HAL_ADC_Stop_DMA(&hadc1);
	/*if (hadc->Instance == ADC1) {
	 for (int a = 0; a < 7; a++) {
	 adcHamDeger[a] = adcDmaDeger[a];
	 }

	 }
	 adc_tamam = true;*/
}
/* USER CODE END 4 */

void StartKontrolTask(void const *argument) {
	/* USER CODE BEGIN 5 */
	/* Infinite loop */
	for (;;) {

		HAL_GPIO_TogglePin(LED_GPIO_Port, LED_Pin);
		PwmVeOnOffKontrol();
		limitKontrol();

		//PwmVeOnOffKontrol();
		osDelay(200);
	}
	/* USER CODE END 5 */
}

void StartAdcTask(void const *argument) {
	/* USER CODE BEGIN StartAdcTask */
	/* Infinite loop */
	for (;;) {
		//hesaplaAdcDegerleri((uint32_t *)*pil,4);
		//lcdGoster();
		hesaplaAdcDegerleri(pil, 4);
		pwmSecimi();
		send_Lcd();
		send_Serial();
		//lcdGoster();
		osDelay(2000);
	}
	/* USER CODE END StartAdcTask */
}

void StartBalansTask(void const *argument) {
	/* USER CODE BEGIN StartBalansTask */
	/* Infinite loop */
	for (;;) {
		balansTest();
		osDelay(200);
	}
	/* USER CODE END StartBalansTask */
}

void HAL_TIM_PeriodElapsedCallback(TIM_HandleTypeDef *htim) {
	if (htim->Instance == TIM2) {
		HAL_IncTick();
	}
}

void Error_Handler(void) {
	__disable_irq();
	while (1) {
	}
}
